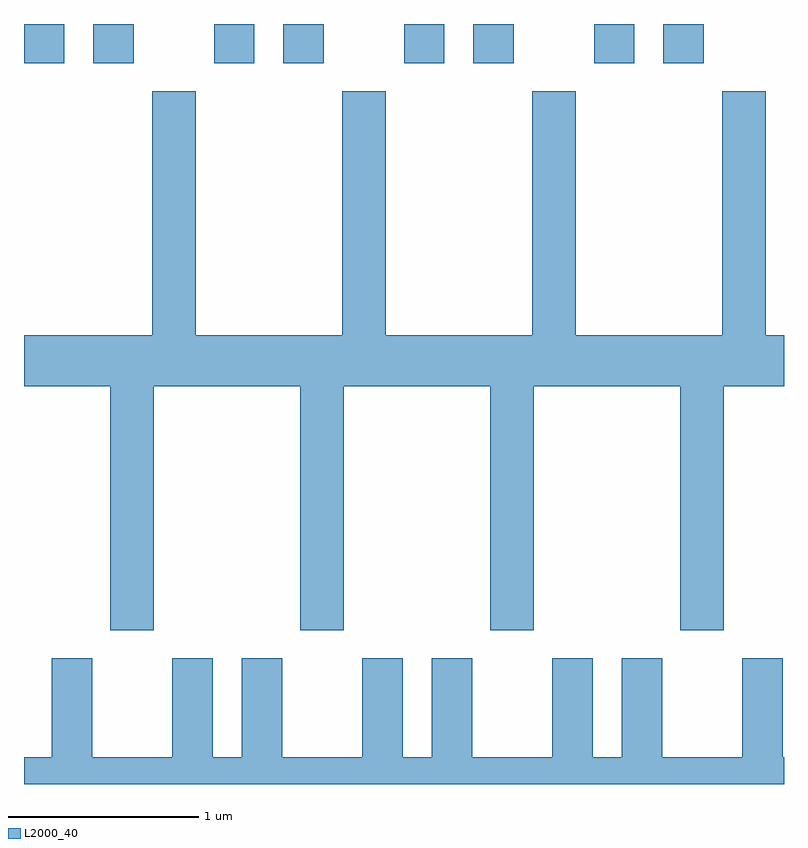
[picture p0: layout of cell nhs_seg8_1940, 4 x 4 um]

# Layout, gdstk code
import gdstk
lib = gdstk.Library(unit=1e-6, precision=1e-09)
def R(c, l, rs):  # rectangles x0, y0, x1, y1
    for r in rs: c.add(gdstk.rectangle(r[:2], r[2:], *l))
def P(c, l, *ps):  # polygons
    for p in ps: c.add(gdstk.Polygon(p, *l))
L2000_40 = (2000, 40)

nhs_seg8_1940 = lib.new_cell('nhs_seg8_1940')
R(nhs_seg8_1940, L2000_40, [(243.611,1818.136,243.824,1818.342), (243.976,1818.136,244.189,1818.342), (244.611,1818.136,244.824,1818.342), (244.976,1818.136,245.189,1818.342), (245.611,1818.136,245.824,1818.342), (245.976,1818.136,246.189,1818.342), (246.611,1818.136,246.824,1818.342), (246.976,1818.136,247.189,1818.342)])
P(nhs_seg8_1940, L2000_40, [(244.294,1816.436),(245.066,1816.436),(245.066,1815.151),(245.294,1815.151),(245.294,1816.436),(246.066,1816.436),(246.066,1815.151),(246.294,1815.151),(246.294,1816.436),(247.066,1816.436),(247.066,1815.151),(247.294,1815.151),(247.294,1816.436),(247.611,1816.436),(247.611,1816.704),(247.514,1816.704),(247.514,1817.989),(247.286,1817.989),(247.286,1816.704),(246.514,1816.704),(246.514,1817.989),(246.286,1817.989),(246.286,1816.704),(245.514,1816.704),(245.514,1817.989),(245.286,1817.989),(245.286,1816.704),(244.514,1816.704),(244.514,1817.989),(244.286,1817.989),(244.286,1816.704),(243.611,1816.704),(243.611,1816.436),(244.066,1816.436),(244.066,1815.151),(244.294,1815.151)],
  [(247.611,1814.484),(247.604,1814.484),(247.604,1815.004),(247.391,1815.004),(247.391,1814.484),(246.969,1814.484),(246.969,1815.004),(246.756,1815.004),(246.756,1814.484),(246.604,1814.484),(246.604,1815.004),(246.391,1815.004),(246.391,1814.484),(245.969,1814.484),(245.969,1815.004),(245.756,1815.004),(245.756,1814.484),(245.604,1814.484),(245.604,1815.004),(245.391,1815.004),(245.391,1814.484),(244.969,1814.484),(244.969,1815.004),(244.756,1815.004),(244.756,1814.484),(244.604,1814.484),(244.604,1815.004),(244.391,1815.004),(244.391,1814.484),(243.969,1814.484),(243.969,1815.004),(243.756,1815.004),(243.756,1814.484),(243.611,1814.484),(243.611,1814.342),(247.611,1814.342)])

lib.write_gds('nhs_seg8_1940.gds')
